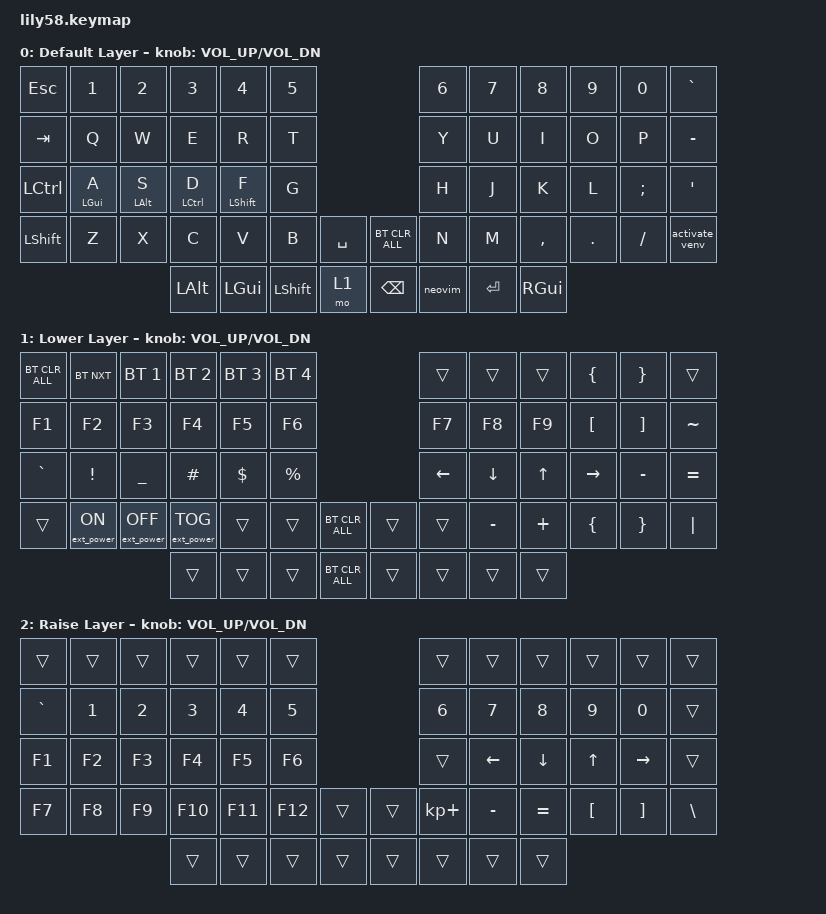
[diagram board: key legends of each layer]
/*
 * Copyright (c) 2020 The ZMK Contributors
 *
 * SPDX-License-Identifier: MIT
 */

#include <behaviors.dtsi>
#include <dt-bindings/zmk/bt.h>
#include <dt-bindings/zmk/ext_power.h>
#include <dt-bindings/zmk/keys.h>

/ {
    behaviors {
        hm: hm {
            compatible = "zmk,behavior-hold-tap";
            label = "HOLD_TAP";
            bindings = <&kp>, <&kp>;

            #binding-cells = <2>;
            tapping-term-ms = <200>;
            quick-tap-ms = <150>;
            flavor = "tap-preferred";
        };
    };

    macros {
        activate_venv: activate_venv {
            compatible = "zmk,behavior-macro";
            #binding-cells = <0>;
            bindings = <&kp S &kp O &kp U &kp R &kp C &kp E &kp SPACE &kp DOT &kp V &kp E &kp N &kp V &kp FSLH &kp B &kp I &kp N &kp FSLH &kp A &kp C &kp T &kp I &kp V &kp A &kp T &kp E &kp ENTER>;
            label = "ACTIVATE_VENV";
        };

        neovim: neovim {
            compatible = "zmk,behavior-macro";
            #binding-cells = <0>;
            bindings = <&kp N &kp V &kp I &kp M &kp SPACE &kp DOT &kp ENTER>;
            label = "NEOVIM";
        };
    };

    keymap {
        compatible = "zmk,keymap";

        default_layer {
            display-name = "Default Layer";

            // ------------------------------------------------------------------------------------------------------------
            // |  ESC  |  1  |  2  |  3   |  4   |  5   |                   |  6   |  7    |  8    |  9   |   0   |   `   |
            // |  TAB  |  Q  |  W  |  E   |  R   |  T   |                   |  Y   |  U    |  I    |  O   |   P   |   -   |
            // |  CTRL |  A  |  S  |  D   |  F   |  G   |                   |  H   |  J    |  K    |  L   |   ;   |   '   |
            // | SHIFT |  Z  |  X  |  C   |  V   |  B   |   "["  |  |  "]"  |  N   |  M    |  ,    |  .   |   /   | SHIFT |
            //                     | ALT  | GUI  | LOWER|  SPACE |  | ENTER | RAISE| BSPC  | GUI   |

            bindings = <
&kp ESC    &kp N1      &kp N2          &kp N3       &kp N4            &kp N5                                   &kp N6   &kp N7     &kp N8     &kp N9   &kp N0    &kp GRAVE
&kp TAB    &kp Q       &kp W           &kp E        &kp R             &kp T                                    &kp Y    &kp U      &kp I      &kp O    &kp P     &kp MINUS
&kp LCTRL  &hm LGUI A  &hm LEFT_ALT S  &hm LCTRL D  &hm LEFT_SHIFT F  &kp G                                    &kp H    &kp J      &kp K      &kp L    &kp SEMI  &kp SQT
&kp LSHFT  &kp Z       &kp X           &kp C        &kp V             &kp B       &kp SPACE    &bt BT_CLR_ALL  &kp N    &kp M      &kp COMMA  &kp DOT  &kp FSLH  &activate_venv
                                       &kp LALT     &kp LGUI          &kp LSHIFT  &mo 1        &kp BACKSPACE   &neovim  &kp ENTER  &kp RGUI
            >;

            sensor-bindings = <&inc_dec_kp C_VOL_UP C_VOL_DN>;
        };

        lower_layer {
            display-name = "Lower Layer";

            // ------------------------------------------------------------------------------------------------------------
            // | BTCLR | BT1 | BT2 |  BT3 |  BT4 |  BT5 |                   |      |       |       |      |       |       |
            // |  F1   |  F2 |  F3 |  F4  |  F5  |  F6  |                   |  F7  |  F8   |  F9   |  F10 |  F11  |  F12  |
            // |   `   |  !  |  @  |  #   |  $   |  %   |                   |  ^   |  &    |  *    |  (   |   )   |   ~   |
            // |       |     |     |      |      |      |        |  |       |      |  _    |  +    |  {   |   }   |  "|"  |
            //                     |      |      |      |        |  |       |      |       |       |

            bindings = <
&bt BT_CLR_ALL  &bt BT_NXT        &bt BT_SEL 1       &bt BT_SEL 2       &bt BT_SEL 3  &bt BT_SEL 4                            &trans          &trans     &trans        &kp LEFT_BRACE    &kp RIGHT_BRACE    &trans
&kp F1          &kp F2            &kp F3             &kp F4             &kp F5        &kp F6                                  &kp F7          &kp F8     &kp F9        &kp LEFT_BRACKET  &kp RIGHT_BRACKET  &kp TILDE
&kp GRAVE       &kp EXCL          &kp UNDER          &kp HASH           &kp DOLLAR    &kp PRCNT                               &kp LEFT_ARROW  &kp DOWN   &kp UP_ARROW  &kp RIGHT         &kp MINUS          &kp EQUAL
&trans          &ext_power EP_ON  &ext_power EP_OFF  &ext_power EP_TOG  &trans        &trans        &bt BT_CLR_ALL    &trans  &trans          &kp MINUS  &kp PLUS      &kp LBRC          &kp RBRC           &kp PIPE
                                                     &trans             &trans        &trans        &bt BT_CLR_ALL    &trans  &trans          &trans     &trans
            >;

            sensor-bindings = <&inc_dec_kp C_VOL_UP C_VOL_DN>;
        };

        raise_layer {
            display-name = "Raise Layer";

            // ------------------------------------------------------------------------------------------------------------
            // |       |     |     |      |      |      |                   |      |       |       |      |       |       |
            // |   `   |  1  |  2  |  3   |  4   |  5   |                   |  6   |   7   |   8   |  9   |   0   |       |
            // |   F1  |  F2 |  F3 |  F4  |  F5  |  F6  |                   |      |   <-  |   v   |  ^   |  ->   |       |
            // |   F7  |  F8 |  F9 |  F10 |  F11 |  F12 |        |  |       |  +   |   -   |   =   |  [   |   ]   |   \   |
            //                     |      |      |      |        |  |       |      |       |       |

            bindings = <
&trans     &trans  &trans  &trans   &trans   &trans                     &trans       &trans     &trans     &trans    &trans     &trans
&kp GRAVE  &kp N1  &kp N2  &kp N3   &kp N4   &kp N5                     &kp N6       &kp N7     &kp N8     &kp N9    &kp N0     &trans
&kp F1     &kp F2  &kp F3  &kp F4   &kp F5   &kp F6                     &trans       &kp LEFT   &kp DOWN   &kp UP    &kp RIGHT  &trans
&kp F7     &kp F8  &kp F9  &kp F10  &kp F11  &kp F12  &trans    &trans  &kp KP_PLUS  &kp MINUS  &kp EQUAL  &kp LBKT  &kp RBKT   &kp BSLH
                           &trans   &trans   &trans   &trans    &trans  &trans       &trans     &trans
            >;

            sensor-bindings = <&inc_dec_kp C_VOL_UP C_VOL_DN>;
        };
    };
};
